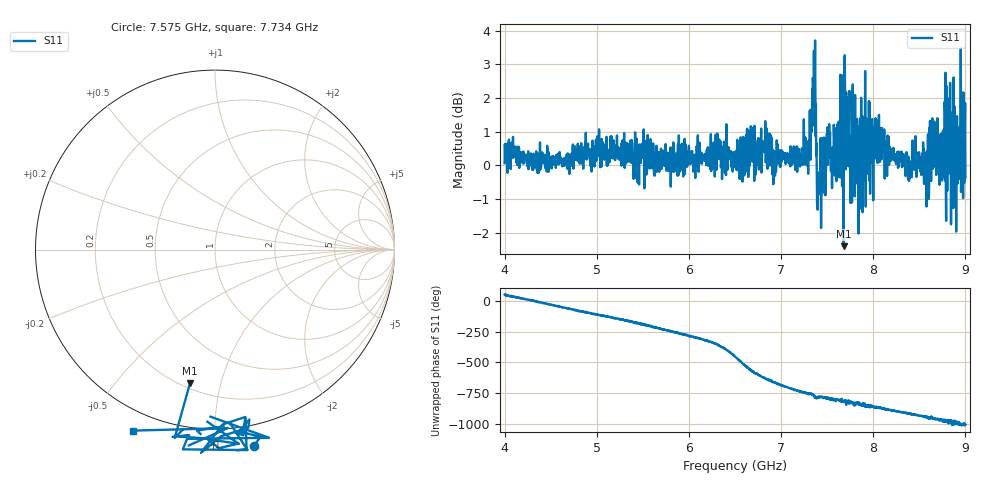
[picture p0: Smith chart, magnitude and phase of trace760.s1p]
! Created with skrf 1.8.0 (http://scikit-rf.org).
# Hz S RI R 50.0
!freq ReS11 ImS11
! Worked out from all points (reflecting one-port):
!   1601 points, 4 GHz to 9 GHz, reference 50 ohm
!   lowest |S11| = -2.4 dB at 7.678 GHz (marker M1), VSWR 7.29, Z = 11.4 - j40.2 ohm
!   phase of S11 starts at 51 deg and turns -1056 deg over the sweep
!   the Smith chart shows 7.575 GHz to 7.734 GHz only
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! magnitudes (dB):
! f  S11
! 4 GHz  0.1
! 4.625 GHz  0.0
! 5.25 GHz  0.2
! 5.875 GHz  0.1
! 6.5 GHz  0.0
! 6.819 GHz  0.6
! 6.928 GHz  -0.1
! 7.125 GHz  0.3
! 7.294 GHz  -0.2
! 7.347 GHz  2.5
! 7.362 GHz  3.1
! 7.412 GHz  -0.6
! 7.512 GHz  1.1
! 7.578 GHz  0.6
! 7.678 GHz  -2.4
! 7.712 GHz  0.5
! 7.75 GHz  0.5
! 7.775 GHz  2.0
! 8.038 GHz  0.9
! 8.375 GHz  -0.2
! 8.441 GHz  0.0
! 8.581 GHz  0.4
! 8.656 GHz  1.3
! 8.725 GHz  0.9
! 8.809 GHz  2.0
! 8.875 GHz  0.2
! 8.972 GHz  0.1
! 9 GHz  -0.4
